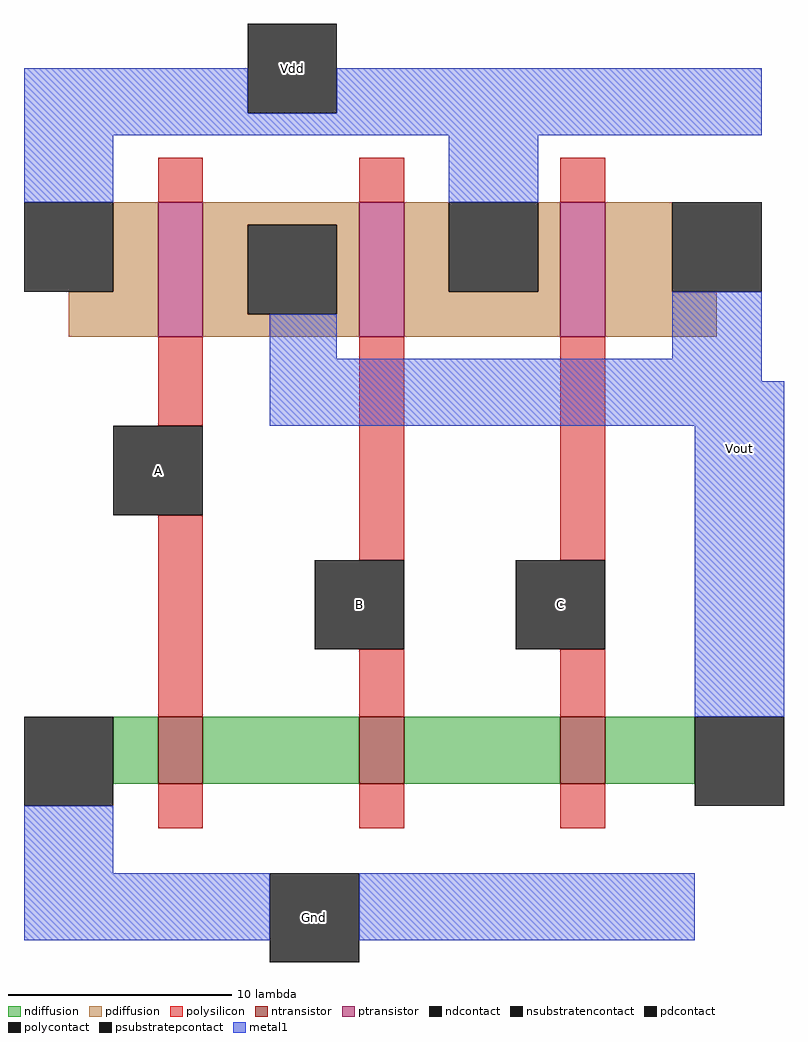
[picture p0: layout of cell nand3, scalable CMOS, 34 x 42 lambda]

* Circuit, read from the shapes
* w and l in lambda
.subckt nand3 A B C Gnd Vdd Vout
M1 n1 A Gnd Gnd nfet w=3 l=2
M2 n2 B n1 Gnd nfet w=3 l=2
M3 Vout C n2 Gnd nfet w=3 l=2
M4 Vout A Vdd Vdd pfet w=6 l=2
M5 Vdd B Vout Vdd pfet w=6 l=2
M6 Vout C Vdd Vdd pfet w=6 l=2
.ends

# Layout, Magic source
magic
tech scmos
<< polysilicon >>
rect 5 22 7 24
rect 14 22 16 24
rect 23 22 25 24
rect 5 12 7 16
rect 5 -1 7 8
rect 14 6 16 16
rect 23 6 25 16
rect 14 -1 16 2
rect 23 -1 25 2
rect 5 -6 7 -4
rect 14 -6 16 -4
rect 23 -6 25 -4
<< ndiffusion >>
rect 3 -4 5 -1
rect 7 -4 14 -1
rect 16 -4 23 -1
rect 25 -4 29 -1
<< pdiffusion >>
rect 3 18 5 22
rect 1 16 5 18
rect 7 21 14 22
rect 7 17 9 21
rect 13 17 14 21
rect 7 16 14 17
rect 16 18 18 22
rect 22 18 23 22
rect 16 16 23 18
rect 25 18 28 22
rect 25 16 30 18
<< metal1 >>
rect -1 26 9 28
rect 13 26 32 28
rect -1 25 32 26
rect -1 22 3 25
rect 18 22 22 25
rect 10 15 13 17
rect 28 15 32 18
rect 10 14 32 15
rect 10 12 33 14
rect 29 -1 33 12
rect -1 -8 3 -5
rect -1 -11 10 -8
rect 14 -11 29 -8
<< ntransistor >>
rect 5 -4 7 -1
rect 14 -4 16 -1
rect 23 -4 25 -1
<< ptransistor >>
rect 5 16 7 22
rect 14 16 16 22
rect 23 16 25 22
<< polycontact >>
rect 3 8 7 12
rect 12 2 16 6
rect 21 2 25 6
<< ndcontact >>
rect -1 -5 3 -1
rect 29 -5 33 -1
<< pdcontact >>
rect -1 18 3 22
rect 9 17 13 21
rect 18 18 22 22
rect 28 18 32 22
<< psubstratepcontact >>
rect 10 -12 14 -8
<< nsubstratencontact >>
rect 9 26 13 30
<< labels >>
rlabel polycontact 3 8 7 12 1 A
rlabel polycontact 12 2 16 6 1 B
rlabel metal1 9 26 13 30 5 Vdd
rlabel psubstratepcontact 10 -12 14 -8 1 Gnd
rlabel polycontact 21 2 25 6 1 C
rlabel metal1 29 9 33 13 7 Vout
<< end >>
